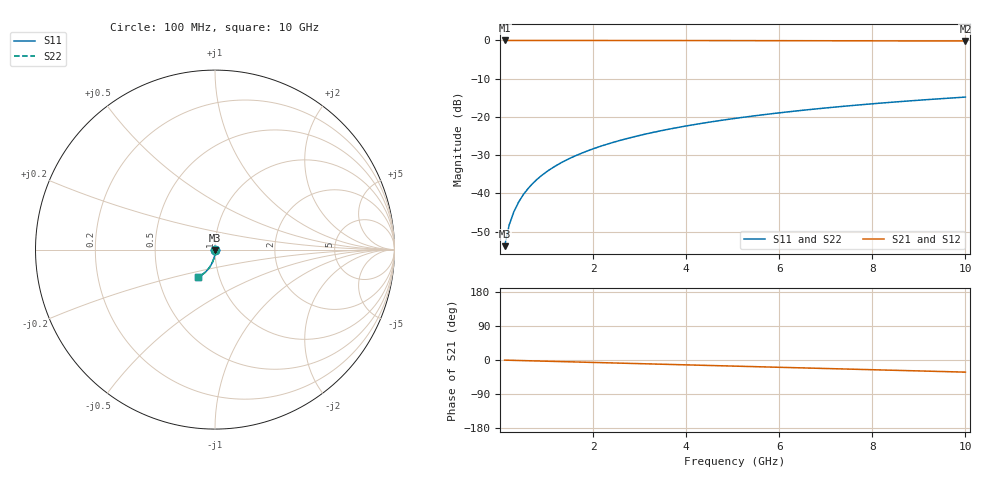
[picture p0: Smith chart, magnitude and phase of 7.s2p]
# Hz S RI R 50.00
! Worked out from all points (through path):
!   100 points, 100 MHz to 10 GHz, reference 50 ohm
!   highest |S21| = -0.01 dB at 100 MHz (marker M1); lowest = -0.2 dB at 10 GHz (marker M2)
!   group delay of S21, straight-line fit = 8.9 ps
!   lowest |S11| = -53.8 dB at 100 MHz (marker M3), VSWR 1.00, Z = 50.1 - j0.192 ohm
!   |S11| at or under -10 dB: start of sweep to end of sweep
!   |S22| runs from -53.8 to -14.8 dB; largest |S21 - S12| = 0
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1e8  0.000694 -0.00191  0.9993 -0.00558  0.9993 -0.00558  0.000694 -0.00191
2e8  0.000664 -0.00383  0.9992 -0.0112  0.9992 -0.0112  0.000664 -0.00383
3e8  0.00061 -0.00574  0.9991 -0.0167  0.9991 -0.0167  0.00061 -0.00574
4e8  0.000535 -0.00765  0.999 -0.0223  0.999 -0.0223  0.000535 -0.00765
5e8  0.000438 -0.00956  0.9988 -0.0279  0.9988 -0.0279  0.000438 -0.00956
6e8  0.000319 -0.0115  0.9986 -0.0335  0.9986 -0.0335  0.000319 -0.0115
7e8  0.000179 -0.0134  0.9984 -0.0391  0.9984 -0.0391  0.000179 -0.0134
8e8  1.69e-05 -0.0153  0.9981 -0.0446  0.9981 -0.0446  1.69e-05 -0.0153
9e8  -0.000166 -0.0172  0.9978 -0.0502  0.9978 -0.0502  -0.000166 -0.0172
1.1e9  -0.000597 -0.021  0.9971 -0.0613  0.9971 -0.0613  -0.000597 -0.021
1.4e9  -0.0014 -0.0267  0.9958 -0.078  0.9958 -0.078  -0.0014 -0.0267
1.8e9  -0.00277 -0.0342  0.9936 -0.1003  0.9936 -0.1003  -0.00277 -0.0342
2.1e9  -0.00403 -0.0399  0.9915 -0.1169  0.9915 -0.1169  -0.00403 -0.0399
2.5e9  -0.00599 -0.0473  0.9883 -0.139  0.9883 -0.139  -0.00599 -0.0473
2.9e9  -0.00828 -0.0546  0.9845 -0.161  0.9845 -0.161  -0.00828 -0.0546
3.4e9  -0.0116 -0.0637  0.979 -0.1884  0.979 -0.1884  -0.0116 -0.0637
4.2e9  -0.018 -0.0777  0.9685 -0.2318  0.9685 -0.2318  -0.018 -0.0777
5.1e9  -0.0266 -0.0927  0.9542 -0.2799  0.9542 -0.2799  -0.0266 -0.0927
5.9e9  -0.0355 -0.1053  0.9392 -0.3218  0.9392 -0.3218  -0.0355 -0.1053
6.7e9  -0.0454 -0.117  0.9222 -0.3629  0.9222 -0.3629  -0.0454 -0.117
8.4e9  -0.0697 -0.1385  0.8798 -0.4467  0.8798 -0.4467  -0.0697 -0.1385
1e10  -0.0958 -0.1541  0.8328 -0.5207  0.8328 -0.5207  -0.0958 -0.1541
